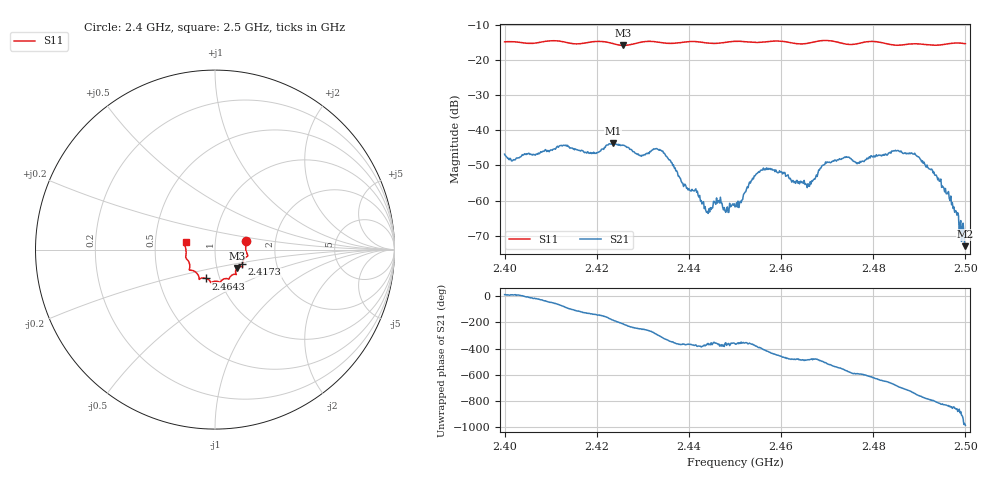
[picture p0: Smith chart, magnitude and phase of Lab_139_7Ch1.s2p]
# Hz S RI R 50
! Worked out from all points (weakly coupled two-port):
!   601 points, 2.4 GHz to 2.5 GHz, reference 50 ohm
!   highest |S21| = -43.75 dB at 2.4235 GHz (marker M1); lowest = -72.9 dB at 2.5 GHz (marker M2)
!   lowest |S11| = -15.9 dB at 2.4257 GHz (marker M3), VSWR 1.38, Z = 62.5 - j13.1 ohm
!   |S11| at or under -10 dB: start of sweep to end of sweep
!   S12 and S22 are empty: the file has one direction only
!   S11 on the Smith chart (normalised r, x): 2.4 GHz: 1.41, +0.14; 2.4173 GHz: 1.34, -0.23; 2.4643 GHz: 0.86, -0.28; 2.5 GHz: 0.72, +0.06
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2.4e9  0.1733 0.0487  0.00445 0.00108  0 0  0 0
2.402e9  0.1759 0.0406  0.00375 0.000794  0 0  0 0
2.4125e9  0.1774 -0.0389  0.00171 -0.00572  0 0  0 0
2.416667e9  0.153 -0.0746  -0.00257 -0.00453  0 0  0 0
2.417333e9  0.1521 -0.0821  -0.0028 -0.00392  0 0  0 0
2.4235e9  0.1414 -0.0945  -0.00649 0.000103  0 0  0 0
2.425667e9  0.1228 -0.1025  -0.00529 0.00303  0 0  0 0
2.429667e9  0.1166 -0.135  -0.00143 0.00403  0 0  0 0
2.433333e9  0.113 -0.1373  0.0025 0.0047  0 0  0 0
2.443833e9  0.0644 -0.1612  0.000665 -0.000153  0 0  0 0
2.4465e9  0.0437 -0.1666  0.000998 -9.82e-05  0 0  0 0
2.448167e9  0.0341 -0.1744  0.000726 -0.000202  0 0  0 0
2.45e9  0.0287 -0.1808  0.000818 -3.99e-05  0 0  0 0
2.456e9  -0.00683 -0.1778  0.00193 -0.00192  0 0  0 0
2.464333e9  -0.0498 -0.1606  -0.00114 -0.0015  0 0  0 0
2.466667e9  -0.0759 -0.1592  -0.000932 -0.00168  0 0  0 0
2.47e9  -0.088 -0.166  -0.00326 -0.00138  0 0  0 0
2.483333e9  -0.1403 -0.0898  0.00237 0.00412  0 0  0 0
2.488667e9  -0.1621 -0.0469  0.00436 -0.00138  0 0  0 0
2.493167e9  -0.1608 -0.0125  0.00038 -0.00252  0 0  0 0
2.496667e9  -0.1687 0.0247  -0.000542 -0.000845  0 0  0 0
2.5e9  -0.1639 0.0426  7.51e-07 0.000226  0 0  0 0
